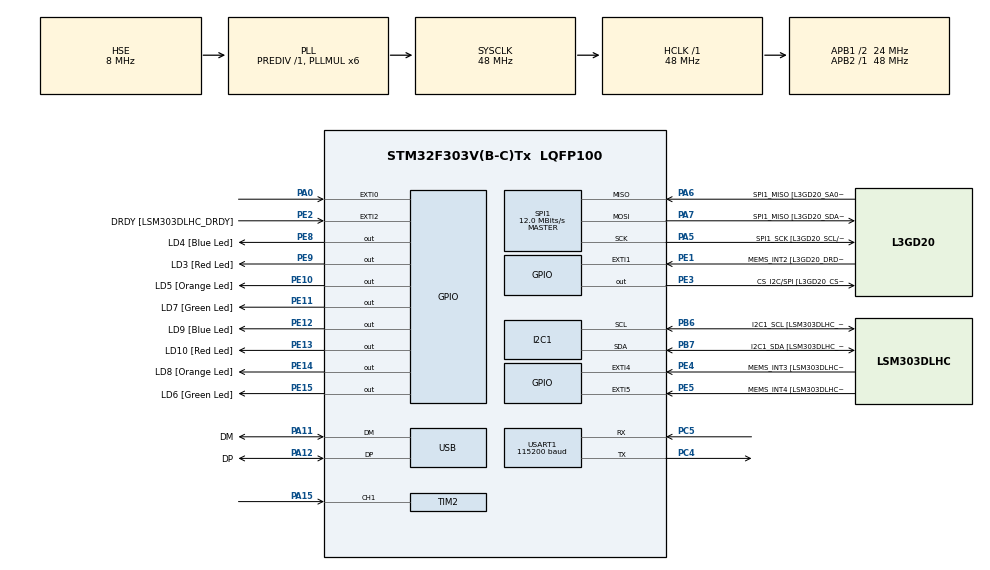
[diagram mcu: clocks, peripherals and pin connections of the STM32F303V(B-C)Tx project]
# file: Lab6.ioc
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I2C1.Timing=0x2000090E
I2C1.Timing-I2C=0x2000090E
Mcu.Family=STM32F3
Mcu.Name=STM32F303V(B-C)Tx
Mcu.Package=LQFP100
NVIC.EXTI0_IRQn=true\:0\:0\:false\:false\:true\:true\:true\:true
NVIC.PriorityGroup=NVIC_PRIORITYGROUP_0
NVIC.TIM2_IRQn=true\:0\:0\:false\:false\:true\:true\:true\:true
PA0.GPIO_PuPd=GPIO_PULLDOWN
PA0.Signal=GPXTI0
PA11.GPIO_Label=DM
PA11.Mode=Device
PA11.Signal=USB_DM
PA12.GPIO_Label=DP
PA12.Mode=Device
PA12.Signal=USB_DP
PA13.GPIO_Label=SWDIO
PA13.Mode=Serial_Wire
PA13.Signal=SYS_JTMS-SWDIO
PA14.GPIO_Label=SWCLK
PA14.Mode=Serial_Wire
PA14.Signal=SYS_JTCK-SWCLK
PA15.Signal=S_TIM2_CH1_ETR
PA5.GPIO_Label=SPI1_SCK [L3GD20_SCL/SPC]
PA5.Mode=Full_Duplex_Master
PA5.Signal=SPI1_SCK
PA6.GPIO_Label=SPI1_MISO [L3GD20_SA0/SDO]
PA6.Mode=Full_Duplex_Master
PA6.Signal=SPI1_MISO
PA7.GPIO_Label=SPI1_MISO [L3GD20_SDA/SDI/SDO]
PA7.Mode=Full_Duplex_Master
PA7.Signal=SPI1_MOSI
PB3.GPIO_Label=SWO
PB3.Signal=SYS_JTDO-TRACESWO
PB6.GPIO_Label=I2C1_SCL [LSM303DLHC_SCL]
PB6.GPIO_Pu=GPIO_PULLUP
PB6.Mode=I2C
PB6.Signal=I2C1_SCL
PB7.GPIO_Label=I2C1_SDA [LSM303DLHC_SDA]
PB7.GPIO_Pu=GPIO_PULLUP
PB7.Mode=I2C
PB7.Signal=I2C1_SDA
PC14-OSC32_IN.GPIO_Label=OSC32_IN
PC14-OSC32_IN.Signal=RCC_OSC32_IN
PC15-OSC32_OUT.GPIO_Label=OSC32_OUT
PC15-OSC32_OUT.Signal=RCC_OSC32_OUT
PC4.Mode=Asynchronous
PC4.Signal=USART1_TX
PC5.Mode=Asynchronous
PC5.Signal=USART1_RX
PE1.GPIO_Label=MEMS_INT2 [L3GD20_DRDY/INT2]
PE1.GPIO_ModeDefaultEXTI=GPIO_MODE_EVT_RISING
PE1.Signal=GPXTI1
PE10.GPIO_Label=LD5 [Orange Led]
PE10.Signal=GPIO_Output
PE11.GPIO_Label=LD7 [Green Led]
PE11.Signal=GPIO_Output
PE12.GPIO_Label=LD9 [Blue Led]
PE12.Signal=GPIO_Output
PE13.GPIO_Label=LD10 [Red Led]
PE13.Signal=GPIO_Output
PE14.GPIO_Label=LD8 [Orange Led]
PE14.Signal=GPIO_Output
PE15.GPIO_Label=LD6 [Green Led]
PE15.Signal=GPIO_Output
PE2.GPIO_Label=DRDY [LSM303DLHC_DRDY]
PE2.GPIO_ModeDefaultEXTI=GPIO_MODE_EVT_RISING
PE2.Signal=GPXTI2
PE3.GPIO_Label=CS_I2C/SPI [L3GD20_CS_I2C/SPI]
PE3.Signal=GPIO_Output
PE4.GPIO_Label=MEMS_INT3 [LSM303DLHC_INT1]
PE4.GPIO_ModeDefaultEXTI=GPIO_MODE_EVT_RISING
PE4.Signal=GPXTI4
PE5.GPIO_Label=MEMS_INT4 [LSM303DLHC_INT2]
PE5.GPIO_ModeDefaultEXTI=GPIO_MODE_EVT_RISING
PE5.Signal=GPXTI5
PE8.GPIO_Label=LD4 [Blue Led]
PE8.Signal=GPIO_Output
PE9.GPIO_Label=LD3 [Red Led]
PE9.Signal=GPIO_Output
PF0-OSC_IN.GPIO_Label=OSC_IN
PF0-OSC_IN.Mode=HSE-External-Clock-Source
PF0-OSC_IN.Signal=RCC_OSC_IN
PF1-OSC_OUT.GPIO_Label=OSC_OUT
PF1-OSC_OUT.Signal=RCC_OSC_OUT
ProjectManager.HeapSize=0x200
ProjectManager.StackSize=0x400
ProjectManager.TargetToolchain=CMake
RCC.AHBFreq_Value=48000000
RCC.APB1CLKDivider=RCC_HCLK_DIV2
RCC.APB1Freq_Value=24000000
RCC.APB1TimFreq_Value=48000000
RCC.APB2Freq_Value=48000000
RCC.APB2TimFreq_Value=48000000
RCC.CortexFreq_Value=48000000
RCC.HCLKFreq_Value=48000000
RCC.HSE_VALUE=8000000
RCC.HSI_VALUE=8000000
RCC.LSE_VALUE=32768
RCC.PLLMUL=RCC_PLL_MUL6
RCC.SYSCLKFreq_VALUE=48000000
RCC.SYSCLKSourceVirtual=RCC_SYSCLKSOURCE_PLLCLK
RCC.USBFreq_Value=48000000
SH.S_TIM2_CH1_ETR.0=TIM2_CH1,Input_Capture1_from_TI1
SPI1.BaudRatePrescaler=SPI_BAUDRATEPRESCALER_4
SPI1.BaudRatePrescaler-Full_Duplex_Master=SPI_BAUDRATEPRESCALER_2
SPI1.CalculateBaudRate=12.0 MBits/s
SPI1.CalculateBaudRate-Full_Duplex_Master=24.0 MBits/s
SPI1.Direction=SPI_DIRECTION_2LINES
SPI1.Mode=SPI_MODE_MASTER
SPI1.Mode-Full_Duplex_Master=SPI_MODE_MASTER
SPI1.VirtualType=VM_MASTER
TIM2.Channel-Input_Capture1_from_TI1=TIM_CHANNEL_1
TIM2.Prescaler=71
USART1.BaudRate=115200
USART1.VirtualMode-Asynchronous=VM_ASYNC
VP_TIM2_VS_ClockSourceINT.Mode=Internal
board=STM32F3DISCOVERY

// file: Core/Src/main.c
/* USER CODE BEGIN Header */
/**
  ******************************************************************************
  * @file           : main.c
  * @brief          : Main program body
  ******************************************************************************
  * @attention
  *
  * Copyright (c) 2026 STMicroelectronics.
  * All rights reserved.
  *
  * This software is licensed under terms that can be found in the LICENSE file
  * in the root directory of this software component.
  * If no LICENSE file comes with this software, it is provided AS-IS.
  *
  ******************************************************************************
  */
/* USER CODE END Header */
#include "main.h"
#include "stdio.h"

I2C_HandleTypeDef hi2c1;

SPI_HandleTypeDef hspi1;

TIM_HandleTypeDef htim2;

UART_HandleTypeDef huart1;

PCD_HandleTypeDef hpcd_USB_FS;

/* USER CODE BEGIN PV */
volatile uint8_t captureReady = 0;
volatile uint8_t sampleIndex = 0;
volatile uint32_t periods[10] = {0};
volatile uint32_t lastCapture = 0;
volatile uint8_t hasPrevCapture = 0;

/* USER CODE END PV */

void SystemClock_Config(void);
static void MX_GPIO_Init(void);
static void MX_I2C1_Init(void);
static void MX_SPI1_Init(void);
static void MX_TIM2_Init(void);
static void MX_USB_PCD_Init(void);
static void MX_USART1_UART_Init(void);

/* USER CODE BEGIN 0 */
void HAL_TIM_IC_CaptureCallback(TIM_HandleTypeDef *htim)
{
  if ((htim->Instance == TIM2) && (htim->Channel == HAL_TIM_ACTIVE_CHANNEL_1)) {
      uint32_t capture = HAL_TIM_ReadCapturedValue(htim, TIM_CHANNEL_1);

      if (hasPrevCapture) {
        uint32_t periodTicks;
        if (capture >= lastCapture) {
          periodTicks = capture - lastCapture;
        } else {
          periodTicks = (0xFFFFFFFF - lastCapture) + capture + 1;
        }

      if (!captureReady) {
        periods[sampleIndex] = periodTicks;
        sampleIndex++;
        if (sampleIndex >= 10) {
          captureReady = 1;
        }
      }

      }

      lastCapture = capture;
      hasPrevCapture = 1;
  }
}

/* USER CODE END 0 */

int main(void)
{

  /* MCU Configuration--------------------------------------------------------*/

  /* Reset of all peripherals, Initializes the Flash interface and the Systick. */
  HAL_Init();

  /* Configure the system clock */
  SystemClock_Config();

  /* Initialize all configured peripherals */
  MX_GPIO_Init();
  MX_I2C1_Init();
  MX_SPI1_Init();
  MX_TIM2_Init();
  MX_USB_PCD_Init();
  MX_USART1_UART_Init();
  /* USER CODE BEGIN 2 */
  HAL_TIM_IC_Start_IT(&htim2, TIM_CHANNEL_1);

  /* USER CODE END 2 */

  /* Infinite loop */
  while (1)
  {

    /* USER CODE BEGIN 3 */
    if (captureReady)
    {
      captureReady = 0;
      uint32_t periodSum = 0;
        for (int i = 0; i < 10; i++)
        {
        periodSum += periods[i];
        }
      sampleIndex = 0;
      uint32_t averagePeriod = periodSum / 10;
      if (averagePeriod == 0) {
          continue;
        }
      uint32_t frequency = 666666 / averagePeriod;
      uint32_t error = 666666 / (averagePeriod * averagePeriod);
        char msg[80];
      int len = snprintf(msg, sizeof(msg), "Freq: %ld +/- %ld Hz\r\n", frequency, error);
        HAL_UART_Transmit(&huart1, (uint8_t*)msg, len, HAL_MAX_DELAY);
    }
    HAL_Delay(100);
  }
  /* USER CODE END 3 */
}

void SystemClock_Config(void)
{
  RCC_OscInitTypeDef RCC_OscInitStruct = {0};
  RCC_ClkInitTypeDef RCC_ClkInitStruct = {0};
  RCC_PeriphCLKInitTypeDef PeriphClkInit = {0};

  /** Initializes the RCC Oscillators according to the specified parameters
  * in the RCC_OscInitTypeDef structure.
  */
  RCC_OscInitStruct.OscillatorType = RCC_OSCILLATORTYPE_HSI|RCC_OSCILLATORTYPE_HSE;
  RCC_OscInitStruct.HSEState = RCC_HSE_BYPASS;
  RCC_OscInitStruct.HSEPredivValue = RCC_HSE_PREDIV_DIV1;
  RCC_OscInitStruct.HSIState = RCC_HSI_ON;
  RCC_OscInitStruct.HSICalibrationValue = RCC_HSICALIBRATION_DEFAULT;
  RCC_OscInitStruct.PLL.PLLState = RCC_PLL_ON;
  RCC_OscInitStruct.PLL.PLLSource = RCC_PLLSOURCE_HSE;
  RCC_OscInitStruct.PLL.PLLMUL = RCC_PLL_MUL6;
  if (HAL_RCC_OscConfig(&RCC_OscInitStruct) != HAL_OK)
  {
    Error_Handler();
  }

  /** Initializes the CPU, AHB and APB buses clocks
  */
  RCC_ClkInitStruct.ClockType = RCC_CLOCKTYPE_HCLK|RCC_CLOCKTYPE_SYSCLK
                              |RCC_CLOCKTYPE_PCLK1|RCC_CLOCKTYPE_PCLK2;
  RCC_ClkInitStruct.SYSCLKSource = RCC_SYSCLKSOURCE_PLLCLK;
  RCC_ClkInitStruct.AHBCLKDivider = RCC_SYSCLK_DIV1;
  RCC_ClkInitStruct.APB1CLKDivider = RCC_HCLK_DIV2;
  RCC_ClkInitStruct.APB2CLKDivider = RCC_HCLK_DIV1;

  if (HAL_RCC_ClockConfig(&RCC_ClkInitStruct, FLASH_LATENCY_1) != HAL_OK)
  {
    Error_Handler();
  }
  PeriphClkInit.PeriphClockSelection = RCC_PERIPHCLK_USB|RCC_PERIPHCLK_USART1
                              |RCC_PERIPHCLK_I2C1;
  PeriphClkInit.Usart1ClockSelection = RCC_USART1CLKSOURCE_PCLK2;
  PeriphClkInit.I2c1ClockSelection = RCC_I2C1CLKSOURCE_HSI;
  PeriphClkInit.USBClockSelection = RCC_USBCLKSOURCE_PLL;
  if (HAL_RCCEx_PeriphCLKConfig(&PeriphClkInit) != HAL_OK)
  {
    Error_Handler();
  }
}

static void MX_I2C1_Init(void)
{

  hi2c1.Instance = I2C1;
  hi2c1.Init.Timing = 0x2000090E;
  hi2c1.Init.OwnAddress1 = 0;
  hi2c1.Init.AddressingMode = I2C_ADDRESSINGMODE_7BIT;
  hi2c1.Init.DualAddressMode = I2C_DUALADDRESS_DISABLE;
  hi2c1.Init.OwnAddress2 = 0;
  hi2c1.Init.OwnAddress2Masks = I2C_OA2_NOMASK;
  hi2c1.Init.GeneralCallMode = I2C_GENERALCALL_DISABLE;
  hi2c1.Init.NoStretchMode = I2C_NOSTRETCH_DISABLE;
  if (HAL_I2C_Init(&hi2c1) != HAL_OK)
  {
    Error_Handler();
  }

  /** Configure Analogue filter
  */
  if (HAL_I2CEx_ConfigAnalogFilter(&hi2c1, I2C_ANALOGFILTER_ENABLE) != HAL_OK)
  {
    Error_Handler();
  }

  /** Configure Digital filter
  */
  if (HAL_I2CEx_ConfigDigitalFilter(&hi2c1, 0) != HAL_OK)
  {
    Error_Handler();
  }

}

static void MX_SPI1_Init(void)
{

  /* SPI1 parameter configuration*/
  hspi1.Instance = SPI1;
  hspi1.Init.Mode = SPI_MODE_MASTER;
  hspi1.Init.Direction = SPI_DIRECTION_2LINES;
  hspi1.Init.DataSize = SPI_DATASIZE_4BIT;
  hspi1.Init.CLKPolarity = SPI_POLARITY_LOW;
  hspi1.Init.CLKPhase = SPI_PHASE_1EDGE;
  hspi1.Init.NSS = SPI_NSS_SOFT;
  hspi1.Init.BaudRatePrescaler = SPI_BAUDRATEPRESCALER_4;
  hspi1.Init.FirstBit = SPI_FIRSTBIT_MSB;
  hspi1.Init.TIMode = SPI_TIMODE_DISABLE;
  hspi1.Init.CRCCalculation = SPI_CRCCALCULATION_DISABLE;
  hspi1.Init.CRCPolynomial = 7;
  hspi1.Init.CRCLength = SPI_CRC_LENGTH_DATASIZE;
  hspi1.Init.NSSPMode = SPI_NSS_PULSE_ENABLE;
  if (HAL_SPI_Init(&hspi1) != HAL_OK)
  {
    Error_Handler();
  }

}

static void MX_TIM2_Init(void)
{

  TIM_ClockConfigTypeDef sClockSourceConfig = {0};
  TIM_MasterConfigTypeDef sMasterConfig = {0};
  TIM_IC_InitTypeDef sConfigIC = {0};

  htim2.Instance = TIM2;
  htim2.Init.Prescaler = 71;
  htim2.Init.CounterMode = TIM_COUNTERMODE_UP;
  htim2.Init.Period = 4294967295;
  htim2.Init.ClockDivision = TIM_CLOCKDIVISION_DIV1;
  htim2.Init.AutoReloadPreload = TIM_AUTORELOAD_PRELOAD_DISABLE;
  if (HAL_TIM_Base_Init(&htim2) != HAL_OK)
  {
    Error_Handler();
  }
  sClockSourceConfig.ClockSource = TIM_CLOCKSOURCE_INTERNAL;
  if (HAL_TIM_ConfigClockSource(&htim2, &sClockSourceConfig) != HAL_OK)
  {
    Error_Handler();
  }
  if (HAL_TIM_IC_Init(&htim2) != HAL_OK)
  {
    Error_Handler();
  }
  sMasterConfig.MasterOutputTrigger = TIM_TRGO_RESET;
  sMasterConfig.MasterSlaveMode = TIM_MASTERSLAVEMODE_DISABLE;
  if (HAL_TIMEx_MasterConfigSynchronization(&htim2, &sMasterConfig) != HAL_OK)
  {
    Error_Handler();
  }
  sConfigIC.ICPolarity = TIM_INPUTCHANNELPOLARITY_RISING;
  sConfigIC.ICSelection = TIM_ICSELECTION_DIRECTTI;
  sConfigIC.ICPrescaler = TIM_ICPSC_DIV1;
  sConfigIC.ICFilter = 0;
  if (HAL_TIM_IC_ConfigChannel(&htim2, &sConfigIC, TIM_CHANNEL_1) != HAL_OK)
  {
    Error_Handler();
  }

}

static void MX_USART1_UART_Init(void)
{

  huart1.Instance = USART1;
  huart1.Init.BaudRate = 115200;
  huart1.Init.WordLength = UART_WORDLENGTH_8B;
  huart1.Init.StopBits = UART_STOPBITS_1;
  huart1.Init.Parity = UART_PARITY_NONE;
  huart1.Init.Mode = UART_MODE_TX_RX;
  huart1.Init.HwFlowCtl = UART_HWCONTROL_NONE;
  huart1.Init.OverSampling = UART_OVERSAMPLING_16;
  huart1.Init.OneBitSampling = UART_ONE_BIT_SAMPLE_DISABLE;
  huart1.AdvancedInit.AdvFeatureInit = UART_ADVFEATURE_NO_INIT;
  if (HAL_UART_Init(&huart1) != HAL_OK)
  {
    Error_Handler();
  }

}

static void MX_USB_PCD_Init(void)
{

  hpcd_USB_FS.Instance = USB;
  hpcd_USB_FS.Init.dev_endpoints = 8;
  hpcd_USB_FS.Init.speed = PCD_SPEED_FULL;
  hpcd_USB_FS.Init.phy_itface = PCD_PHY_EMBEDDED;
  hpcd_USB_FS.Init.low_power_enable = DISABLE;
  hpcd_USB_FS.Init.battery_charging_enable = DISABLE;
  if (HAL_PCD_Init(&hpcd_USB_FS) != HAL_OK)
  {
    Error_Handler();
  }

}

static void MX_GPIO_Init(void)
{
  GPIO_InitTypeDef GPIO_InitStruct = {0};

  /* GPIO Ports Clock Enable */
  __HAL_RCC_GPIOE_CLK_ENABLE();
  __HAL_RCC_GPIOC_CLK_ENABLE();
  __HAL_RCC_GPIOF_CLK_ENABLE();
  __HAL_RCC_GPIOA_CLK_ENABLE();
  __HAL_RCC_GPIOB_CLK_ENABLE();

  /*Configure GPIO pin Output Level */
  HAL_GPIO_WritePin(GPIOE, CS_I2C_SPI_Pin|LD4_Pin|LD3_Pin|LD5_Pin
                          |LD7_Pin|LD9_Pin|LD10_Pin|LD8_Pin
                          |LD6_Pin, GPIO_PIN_RESET);

  /*Configure GPIO pins : DRDY_Pin MEMS_INT3_Pin MEMS_INT4_Pin MEMS_INT2_Pin */
  GPIO_InitStruct.Pin = DRDY_Pin|MEMS_INT3_Pin|MEMS_INT4_Pin|MEMS_INT2_Pin;
  GPIO_InitStruct.Mode = GPIO_MODE_EVT_RISING;
  GPIO_InitStruct.Pull = GPIO_NOPULL;
  HAL_GPIO_Init(GPIOE, &GPIO_InitStruct);

  /*Configure GPIO pins : CS_I2C_SPI_Pin LD4_Pin LD3_Pin LD5_Pin
                           LD7_Pin LD9_Pin LD10_Pin LD8_Pin
                           LD6_Pin */
  GPIO_InitStruct.Pin = CS_I2C_SPI_Pin|LD4_Pin|LD3_Pin|LD5_Pin
                          |LD7_Pin|LD9_Pin|LD10_Pin|LD8_Pin
                          |LD6_Pin;
  GPIO_InitStruct.Mode = GPIO_MODE_OUTPUT_PP;
  GPIO_InitStruct.Pull = GPIO_NOPULL;
  GPIO_InitStruct.Speed = GPIO_SPEED_FREQ_LOW;
  HAL_GPIO_Init(GPIOE, &GPIO_InitStruct);

  /*Configure GPIO pin : PA0 */
  GPIO_InitStruct.Pin = GPIO_PIN_0;
  GPIO_InitStruct.Mode = GPIO_MODE_IT_RISING;
  GPIO_InitStruct.Pull = GPIO_PULLDOWN;
  HAL_GPIO_Init(GPIOA, &GPIO_InitStruct);

  /* EXTI interrupt init*/
  HAL_NVIC_SetPriority(EXTI0_IRQn, 0, 0);
  HAL_NVIC_EnableIRQ(EXTI0_IRQn);

}

void Error_Handler(void)
{
  __disable_irq();
  while (1)
  {
  }
}
